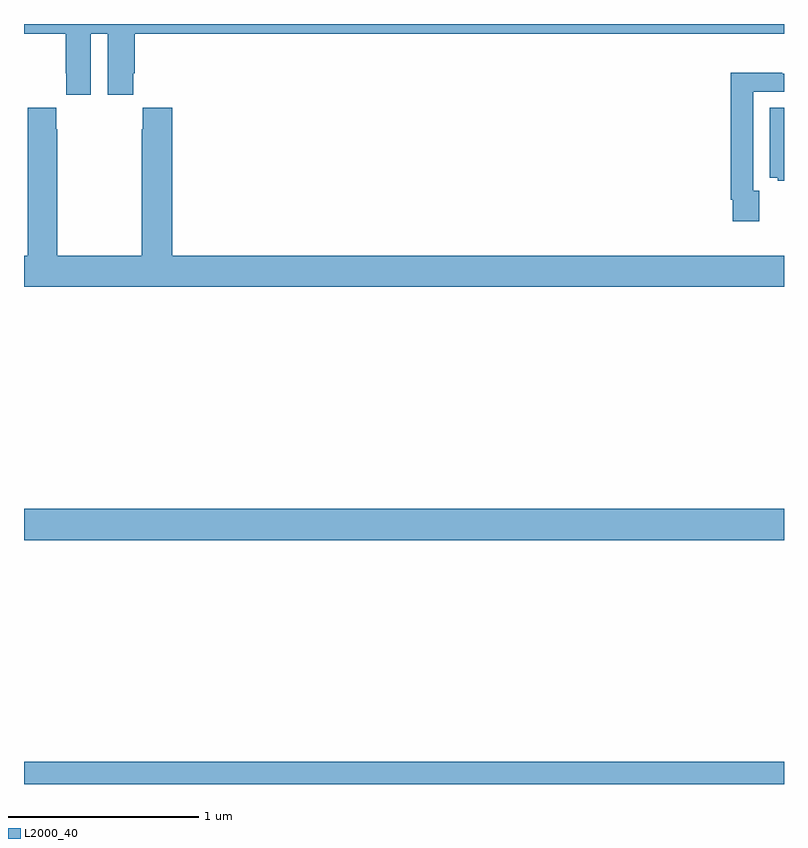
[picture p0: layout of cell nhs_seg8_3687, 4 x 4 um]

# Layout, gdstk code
import gdstk
lib = gdstk.Library(unit=1e-6, precision=1e-09)
def R(c, l, rs):  # rectangles x0, y0, x1, y1
    for r in rs: c.add(gdstk.rectangle(r[:2], r[2:], *l))
def P(c, l, *ps):  # polygons
    for p in ps: c.add(gdstk.Polygon(p, *l))
L2000_40 = (2000, 40)

nhs_seg8_3687 = lib.new_cell('nhs_seg8_3687')
R(nhs_seg8_3687, L2000_40, [(339,1097.9,343,1098.016), (339,1099.184,343,1099.348)])
P(nhs_seg8_3687, L2000_40, [(339.352,1101.848),(339.44,1101.848),(339.44,1101.528),(339.574,1101.528),(339.574,1101.64),(339.584,1101.64),(339.584,1101.848),(343,1101.848),(343,1101.9),(339,1101.9),(339,1101.848),(339.221,1101.848),(339.221,1101.64),(339.222,1101.64),(339.222,1101.528),(339.352,1101.528)],
  [(342.871,1101.023),(342.837,1101.023),(342.837,1101.543),(343,1101.543),(343,1101.639),(342.991,1101.639),(342.991,1101.643),(342.721,1101.643),(342.721,1100.974),(342.729,1100.974),(342.729,1100.862),(342.871,1100.862)],
  [(343,1100.68),(339.779,1100.68),(339.779,1101.46),(339.625,1101.46),(339.625,1101.347),(339.619,1101.347),(339.619,1100.68),(339.174,1100.68),(339.174,1101.347),(339.171,1101.347),(339.171,1101.46),(339.021,1101.46),(339.021,1101.347),(339.019,1101.347),(339.019,1100.68),(339,1100.68),(339,1100.516),(343,1100.516)],
  [(343,1101.458),(342.926,1101.458),(342.926,1101.092),(342.966,1101.092),(342.966,1101.074),(343,1101.074)])

lib.write_gds('nhs_seg8_3687.gds')
